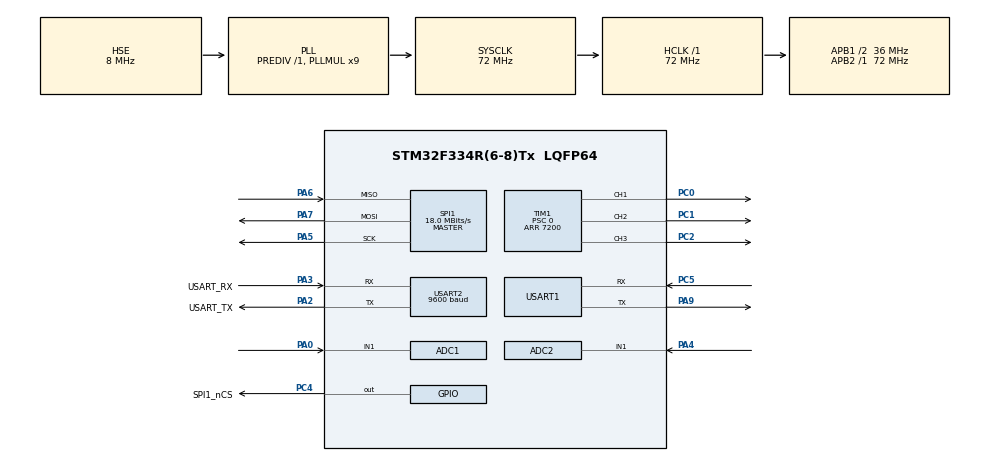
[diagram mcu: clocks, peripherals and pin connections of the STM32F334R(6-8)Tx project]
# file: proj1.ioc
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ADC1.Channel-1\#ChannelRegularConversion=ADC_CHANNEL_1
ADC1.ExternalTrigConv=ADC_EXTERNALTRIGCONV_T1_CC1
ADC1.ExternalTrigConvEdge=ADC_EXTERNALTRIGCONVEDGE_FALLING
ADC1.NbrOfConversion=1
ADC1.NbrOfConversionFlag=1
ADC1.Offset-1\#ChannelRegularConversion=0
ADC1.OffsetNumber-1\#ChannelRegularConversion=ADC_OFFSET_NONE
ADC1.Rank-1\#ChannelRegularConversion=1
ADC1.SamplingTime-1\#ChannelRegularConversion=ADC_SAMPLETIME_1CYCLE_5
ADC1.SubFamily=STM32F334x8
ADC1.master=1
ADC2.Channel-1\#ChannelRegularConversion=ADC_CHANNEL_1
ADC2.ExternalTrigConv=ADC_EXTERNALTRIGCONV_T1_CC2
ADC2.ExternalTrigConvEdge=ADC_EXTERNALTRIGCONVEDGE_FALLING
ADC2.NbrOfConversion=1
ADC2.NbrOfConversionFlag=1
ADC2.Offset-1\#ChannelRegularConversion=0
ADC2.OffsetNumber-1\#ChannelRegularConversion=ADC_OFFSET_NONE
ADC2.Rank-1\#ChannelRegularConversion=1
ADC2.SamplingTime-1\#ChannelRegularConversion=ADC_SAMPLETIME_1CYCLE_5
ADC2.SubFamily=STM32F334x8
Dma.ADC1.0.Direction=DMA_PERIPH_TO_MEMORY
Dma.ADC1.0.Instance=DMA1_Channel1
Dma.ADC1.0.MemDataAlignment=DMA_MDATAALIGN_HALFWORD
Dma.ADC1.0.MemInc=DMA_MINC_ENABLE
Dma.ADC1.0.Mode=DMA_NORMAL
Dma.ADC1.0.PeriphDataAlignment=DMA_PDATAALIGN_HALFWORD
Dma.ADC1.0.PeriphInc=DMA_PINC_DISABLE
Dma.ADC1.0.Priority=DMA_PRIORITY_LOW
Dma.ADC2.1.Direction=DMA_PERIPH_TO_MEMORY
Dma.ADC2.1.Instance=DMA1_Channel2
Dma.ADC2.1.MemDataAlignment=DMA_MDATAALIGN_HALFWORD
Dma.ADC2.1.MemInc=DMA_MINC_ENABLE
Dma.ADC2.1.Mode=DMA_NORMAL
Dma.ADC2.1.PeriphDataAlignment=DMA_PDATAALIGN_HALFWORD
Dma.ADC2.1.PeriphInc=DMA_PINC_DISABLE
Dma.ADC2.1.Priority=DMA_PRIORITY_LOW
Dma.Request0=ADC1
Dma.Request1=ADC2
Dma.Request2=USART2_TX
Dma.Request3=USART2_RX
Dma.USART2_RX.3.Direction=DMA_PERIPH_TO_MEMORY
Dma.USART2_RX.3.Instance=DMA1_Channel6
Dma.USART2_RX.3.MemDataAlignment=DMA_MDATAALIGN_HALFWORD
Dma.USART2_RX.3.MemInc=DMA_MINC_ENABLE
Dma.USART2_RX.3.Mode=DMA_NORMAL
Dma.USART2_RX.3.PeriphDataAlignment=DMA_PDATAALIGN_BYTE
Dma.USART2_RX.3.PeriphInc=DMA_PINC_DISABLE
Dma.USART2_RX.3.Priority=DMA_PRIORITY_LOW
Dma.USART2_TX.2.Direction=DMA_MEMORY_TO_PERIPH
Dma.USART2_TX.2.Instance=DMA1_Channel7
Dma.USART2_TX.2.MemDataAlignment=DMA_MDATAALIGN_HALFWORD
Dma.USART2_TX.2.MemInc=DMA_MINC_ENABLE
Dma.USART2_TX.2.Mode=DMA_CIRCULAR
Dma.USART2_TX.2.PeriphDataAlignment=DMA_PDATAALIGN_BYTE
Dma.USART2_TX.2.PeriphInc=DMA_PINC_DISABLE
Dma.USART2_TX.2.Priority=DMA_PRIORITY_LOW
Mcu.Family=STM32F3
Mcu.Name=STM32F334R(6-8)Tx
Mcu.Package=LQFP64
NVIC.DMA1_Channel1_IRQn=true\:0\:0\:false\:false\:true\:false\:true\:true
NVIC.DMA1_Channel2_IRQn=true\:0\:0\:false\:false\:true\:false\:true\:true
NVIC.DMA1_Channel6_IRQn=true\:0\:0\:false\:false\:true\:false\:true\:true
NVIC.DMA1_Channel7_IRQn=true\:0\:0\:false\:false\:true\:false\:true\:true
NVIC.PriorityGroup=NVIC_PRIORITYGROUP_4
NVIC.TIM1_UP_TIM16_IRQn=true\:0\:0\:false\:false\:true\:true\:true\:true
PA0.Mode=IN1-Single-Ended
PA0.Signal=ADC1_IN1
PA13.GPIO_Label=TMS
PA13.Mode=Serial_Wire
PA13.Signal=SYS_JTMS-SWDIO
PA14.GPIO_Label=TCK
PA14.Mode=Serial_Wire
PA14.Signal=SYS_JTCK-SWCLK
PA2.GPIO_Label=USART_TX
PA2.Mode=Asynchronous
PA2.Signal=USART2_TX
PA3.GPIO_Label=USART_RX
PA3.Mode=Asynchronous
PA3.Signal=USART2_RX
PA4.Mode=IN1-Single-Ended
PA4.Signal=ADC2_IN1
PA5.Mode=Full_Duplex_Master
PA5.Signal=SPI1_SCK
PA6.Mode=Full_Duplex_Master
PA6.Signal=SPI1_MISO
PA7.Mode=Full_Duplex_Master
PA7.Signal=SPI1_MOSI
PA9.Mode=Asynchronous
PA9.Signal=USART1_TX
PB3.GPIO_Label=SWO
PB3.Signal=SYS_JTDO-TRACESWO
PC0.Signal=S_TIM1_CH1
PC1.Signal=S_TIM1_CH2
PC14\ /\ OSC32_IN.Mode=LSE-External-Oscillator
PC14\ /\ OSC32_IN.Signal=RCC_OSC32_IN
PC15\ /\ OSC32_OUT.GPIO_Label=RCC_OSC32_OUT
PC15\ /\ OSC32_OUT.Mode=LSE-External-Oscillator
PC15\ /\ OSC32_OUT.Signal=RCC_OSC32_OUT
PC2.Signal=S_TIM1_CH3
PC4.GPIO_Label=SPI1_nCS
PC4.Signal=GPIO_Output
PC5.Mode=Asynchronous
PC5.Signal=USART1_RX
PF0\ /\ OSC_IN.Mode=HSE-External-Clock-Source
PF0\ /\ OSC_IN.Signal=RCC_OSC_IN
PF1\ /\ OSC_OUT.Signal=RCC_OSC_OUT
ProjectManager.HeapSize=0x200
ProjectManager.StackSize=0x400
ProjectManager.TargetToolchain=STM32CubeIDE
RCC.AHBFreq_Value=72000000
RCC.APB1CLKDivider=RCC_HCLK_DIV2
RCC.APB1Freq_Value=36000000
RCC.APB1TimFreq_Value=72000000
RCC.APB2Freq_Value=72000000
RCC.APB2TimFreq_Value=72000000
RCC.CortexFreq_Value=72000000
RCC.FLatency-AdvancedSettings=FLASH_LATENCY_2
RCC.HCLKFreq_Value=72000000
RCC.HSE_VALUE=8000000
RCC.HSI_VALUE=8000000
RCC.PLLMUL=RCC_PLL_MUL9
RCC.PLLSourceVirtual=RCC_PLLSOURCE_HSE
RCC.SYSCLKFreq_VALUE=72000000
RCC.SYSCLKSourceVirtual=RCC_SYSCLKSOURCE_PLLCLK
RCC.TIM1Selection=RCC_TIM1CLK_PLLCLK
SH.S_TIM1_CH1.0=TIM1_CH1,PWM Generation1 CH1
SH.S_TIM1_CH2.0=TIM1_CH2,PWM Generation2 CH2
SH.S_TIM1_CH3.0=TIM1_CH3,PWM Generation3 CH3
SPI1.BaudRatePrescaler=SPI_BAUDRATEPRESCALER_4
SPI1.CLKPhase=SPI_PHASE_1EDGE
SPI1.CLKPolarity=SPI_POLARITY_LOW
SPI1.CalculateBaudRate=18.0 MBits/s
SPI1.DataSize=SPI_DATASIZE_8BIT
SPI1.Direction=SPI_DIRECTION_2LINES
SPI1.Mode=SPI_MODE_MASTER
SPI1.VirtualType=VM_MASTER
TIM1.Channel-PWM\ Generation1\ CH1=TIM_CHANNEL_1
TIM1.Channel-PWM\ Generation2\ CH2=TIM_CHANNEL_2
TIM1.Channel-PWM\ Generation3\ CH3=TIM_CHANNEL_3
TIM1.CounterMode=TIM_COUNTERMODE_CENTERALIGNED1
TIM1.Period=7200
TIM1.Prescaler=0
USART1.VirtualMode-Asynchronous=VM_ASYNC
USART2.BaudRate=9600
USART2.MSBFirstParam=ADVFEATURE_MSBFIRST_ENABLE
USART2.VirtualMode-Asynchronous=VM_ASYNC
USART2.WordLength=WORDLENGTH_8B
board=NUCLEO-F334R8

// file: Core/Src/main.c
/* USER CODE BEGIN Header */
/**
  ******************************************************************************
  * @file           : main.c
  * @brief          : Main program body
  ******************************************************************************
  * @attention
  *
  * Copyright (c) 2023 STMicroelectronics.
  * All rights reserved.
  *
  * This software is licensed under terms that can be found in the LICENSE file
  * in the root directory of this software component.
  * If no LICENSE file comes with this software, it is provided AS-IS.
  *
  ******************************************************************************
  */
/* USER CODE END Header */
#include "main.h"

/* USER CODE BEGIN Includes */
#include <stdio.h>
#include <math.h>
/* USER CODE END Includes */

/* USER CODE BEGIN PTD */
typedef struct ADC {
	uint32_t a;
	uint32_t b;
	uint32_t c;
}ADC;

typedef struct Phase {
	float a;
	float b;
	float c;
}Phase;

typedef struct Stationary{
	float ds;
	float qs;
}Stationary;

typedef struct Rotating{
	float dr;
	float qr;
}Rotating;

typedef struct Angle{
	float deg;
	float rad;
}Angle;

union Data{
	uint32_t asFloat;
	uint8_t asByte[4];
}Data;

/* USER CODE END PTD */

/* USER CODE BEGIN PD */
#define CURRENT_SENSE_GAIN 4.0
#define R_SENSE 0.005
/* USER CODE END PD */

ADC_HandleTypeDef hadc1;
ADC_HandleTypeDef hadc2;
DMA_HandleTypeDef hdma_adc1;
DMA_HandleTypeDef hdma_adc2;

SPI_HandleTypeDef hspi1;

TIM_HandleTypeDef htim1;

UART_HandleTypeDef huart1;
UART_HandleTypeDef huart2;
DMA_HandleTypeDef hdma_usart2_tx;
DMA_HandleTypeDef hdma_usart2_rx;

/* USER CODE BEGIN PV */
float V_DC = 24.0;
float pole_pair = 21;
float gear_ratio = 1;
uint16_t PWM_RES = 7200;

uint16_t ANGLEUNC = 0x3ffe;

float Va,Vb,Vc;
volatile uint16_t i_ph1 = 0;
volatile uint16_t i_ph2 = 0;
volatile uint16_t i_ph3 = 0;
float m_angle;
/* USER CODE END PV */

void SystemClock_Config(void);
static void MX_GPIO_Init(void);
static void MX_DMA_Init(void);
static void MX_USART2_UART_Init(void);
static void MX_ADC1_Init(void);
static void MX_ADC2_Init(void);
static void MX_SPI1_Init(void);
static void MX_TIM1_Init(void);
static void MX_USART1_UART_Init(void);

/* USER CODE BEGIN 0 */
void HAL_TIM_PeriodElapsedCallback(TIM_HandleTypeDef *htim){
//	HAL_ADC_Start_DMA(&hadc1, (uint32_t *)&i_ph1, 1);
//	HAL_ADC_Start_DMA(&hadc2, (uint32_t *)&i_ph2, 1);
//	HAL_ADC_Start_DMA(&hadc3, (uint32_t *)&i_ph3, 1);
	TIM1->CCR1 = Va*2598;
	TIM1->CCR2 = Vb*2598;
	TIM1->CCR3 = Vc*2598;
}

void HAL_ADC_ConvCpltCallback(ADC_HandleTypeDef* hadc){
	HAL_UART_Transmit_DMA(&huart2, (uint8_t*)&i_ph1, 2);
}

void sense2phase(ADC *adc_in,Phase *i_ph){
  i_ph->a = -(adc_in->a/4095.0*3.3-1.65)/(CURRENT_SENSE_GAIN*R_SENSE);
  i_ph->b = -(adc_in->b/4095.0*3.3-1.65)/(CURRENT_SENSE_GAIN*R_SENSE);
  i_ph->c = -(adc_in->c/4095.0*3.3-1.65)/(CURRENT_SENSE_GAIN*R_SENSE);
}

void phase2dqs(Phase *i_ph,Stationary *i_dqs){
	i_dqs->ds = (2*i_ph->a - i_ph->b - i_ph->c)/3;
	i_dqs->qs = (i_ph->b - i_ph->c)/sqrt(3);
}

void dqs2dqr(Stationary *i_dqs, Rotating *i_dqr, float theta){
	i_dqr->dr =  i_dqs->ds*cos(theta) + i_dqs->qs*sin(theta);
	i_dqr->qr = -i_dqs->ds*sin(theta) + i_dqs->qs*cos(theta);
}

void dqr2dqs(Rotating *i_dqr, Stationary *i_dqs,float theta){
	i_dqs->ds = i_dqr->dr*cos(theta) - i_dqr->qr*sin(theta);
	i_dqs->qs = i_dqr->dr*sin(theta) + i_dqr->qr*cos(theta);
}

void read_angle(float *angle){
	uint16_t command;
	uint8_t raw[2];
	uint16_t data;
	command = ANGLEUNC | 1<<14;
	HAL_GPIO_WritePin(GPIOC, GPIO_PIN_4, GPIO_PIN_RESET);
	HAL_SPI_Transmit(&hspi1, (uint8_t*)command, 2, 10);
	HAL_GPIO_WritePin(GPIOC, GPIO_PIN_4, GPIO_PIN_SET);
	HAL_GPIO_WritePin(GPIOC, GPIO_PIN_4, GPIO_PIN_RESET);
	HAL_SPI_Receive(&hspi1, raw, 2, 10);
	HAL_GPIO_WritePin(GPIOC, GPIO_PIN_4, GPIO_PIN_SET);
	data = raw[0]<<8|raw[1];
	data &= 0x3fff;
	*angle = data/8191.0*2*M_PI;
}

//void read_speed(){
//
//}

void m2e_angle(float *theta_m,float *theta_e){
	// don't use in speed loop
	*theta_e = *theta_m*pole_pair*gear_ratio;
}

void limiter(float *value, float *min, float *max){
	if(value >= max) value = max;
	else if(value <= min) value = min;
}

void SpaceVector(Stationary *v,float theta_e){
	static uint8_t sector=0;
	float v_ref;
	// calculate the magnitude of vds and vqs
	v_ref = sqrt(v->ds*v->ds + v->qs*v->qs);
	// calculate the angle of vds and vqs
	theta_e = atan2(v->qs,v->ds) + theta_e;
	// for testing
	//read_angle(&theta_e);
	//m2e_angle(&theta_e);

//	if (theta_e.deg>=0 && theta_e.deg<=60) sector = 1;
//	else if (theta_e.deg>=60 && theta_e.deg<=120) sector = 2;
//	else if (theta_e.deg>=120 && theta_e.deg<=180) sector = 3;
//	else if (theta_e.deg>=180 && theta_e.deg<=240) sector = 4;
//	else if (theta_e.deg>=240 && theta_e.deg<=300) sector = 5;
//	else if (theta_e.deg>=300 && theta_e.deg<=360) sector = 6;
//	else sector=0;

	sector = floor(theta_e*3.0/M_PI)+1;

	float n = sector*1.0;
	float ts = v_ref/V_DC*sqrt(3);
	float t1 = ts*sin(n*M_PI/3.0-theta_e);
	float t2 = ts*sin((theta_e-n-1.0)/3.0*M_PI);

	float t0 = ts-(t1+t2);
	float t120 = t1+t2+(t0/2);
	float t10 = t1+(t0/2);
	float t20 = t2+(t0/2);

	float Ta,Tb,Tc;

	switch(sector){
	case 1 :Ta=t120;
			Tb=t20;
			Tc=t0/2;
	break;
 	case 2 :Ta=t10;
 			Tb=t120;
 			Tc=t0/2;
 	break;
 	case 3 :Ta=t0/2;
 			Tb=t120;
 			Tc=t20;
 	break;
 	case 4 :Ta=t0/2;
 			Tb=t10;
 			Tc=t120;
 	break;
 	case 5 :Ta=t20;
 			Tb=t0/2;
 			Tc=t120;
 	break;
 	case 6 :Ta=t120;
 			Tb=t0/2;
 			Tc=t10;
 	break;
	}

	Va = (Ta*V_DC)/1.0*PWM_RES;
	Vb = (Tb*V_DC)/1.0*PWM_RES;
	Vc = (Tc*V_DC)/1.0*PWM_RES;
}

//void serial_write(Phase *data){
//	uint8_t buffer[14] = {data};
//	for(int i=0;i<3;i++){
//		HAL_UART_Transmit_DMA(&huart2, &data, 4);
//		HAL_UART_Transmit(&huart2, "\t", 1, 0);
//	}
//
//}

//void serial_read(){
//
//}

/* USER CODE END 0 */

int main(void)
{
  /* USER CODE BEGIN 1 */
/* list of signal*/
  uint16_t adc_a,adc_b,adc_c;
  Phase vsense = {adc_a,adc_b,adc_c};
  Phase phase_current = {0,0,0};
  Phase phase_voltage = {0,0,0};
  Stationary dqs_current = {0,0};
  Rotating dqr_current = {0,0};
  Rotating dqr_voltage = {0,0};
  Stationary dqs_voltage = {0,0};
  float e_angle = 0;

  /* USER CODE END 1 */

  /* MCU Configuration--------------------------------------------------------*/

  /* Reset of all peripherals, Initializes the Flash interface and the Systick. */
  HAL_Init();

  /* Configure the system clock */
  SystemClock_Config();

  /* Initialize all configured peripherals */
  MX_GPIO_Init();
  MX_DMA_Init();
  MX_USART2_UART_Init();
  MX_ADC1_Init();
  MX_ADC2_Init();
  MX_SPI1_Init();
  MX_TIM1_Init();
  MX_USART1_UART_Init();
  /* USER CODE BEGIN 2 */

  HAL_TIM_Base_Start_IT( &htim1 );
  HAL_ADC_Start_DMA(&hadc1, (uint32_t *)&i_ph1, 1);
  HAL_ADC_Start_DMA(&hadc2, (uint32_t *)&i_ph2, 1);
//  HAL_ADC_Start_DMA(&hadc3, (uint32_t *)&i_ph3, 1);
  HAL_TIM_PWM_Start( &htim1, TIM_CHANNEL_1 );
  HAL_TIM_PWM_Start( &htim1, TIM_CHANNEL_2 );
  HAL_TIM_PWM_Start( &htim1, TIM_CHANNEL_3 );

  //set nCS to high
  HAL_GPIO_WritePin(GPIOC, GPIO_PIN_4, GPIO_PIN_SET);

  /* USER CODE END 2 */

  /* Infinite loop */
  while (1)
  {

    /* USER CODE BEGIN 3 */
	  /*This is current loop*/
	read_angle(&m_angle);
//	m2e_angle(&m_angle,&e_angle);
//	SpaceVector(&dqs_voltage,e_angle);
//	serial_write(m_angle.deg);
  }
  /* USER CODE END 3 */
}

void SystemClock_Config(void)
{
  RCC_OscInitTypeDef RCC_OscInitStruct = {0};
  RCC_ClkInitTypeDef RCC_ClkInitStruct = {0};
  RCC_PeriphCLKInitTypeDef PeriphClkInit = {0};

  /** Initializes the RCC Oscillators according to the specified parameters
  * in the RCC_OscInitTypeDef structure.
  */
  RCC_OscInitStruct.OscillatorType = RCC_OSCILLATORTYPE_HSE;
  RCC_OscInitStruct.HSEState = RCC_HSE_BYPASS;
  RCC_OscInitStruct.HSEPredivValue = RCC_HSE_PREDIV_DIV1;
  RCC_OscInitStruct.HSIState = RCC_HSI_ON;
  RCC_OscInitStruct.PLL.PLLState = RCC_PLL_ON;
  RCC_OscInitStruct.PLL.PLLSource = RCC_PLLSOURCE_HSE;
  RCC_OscInitStruct.PLL.PLLMUL = RCC_PLL_MUL9;
  if (HAL_RCC_OscConfig(&RCC_OscInitStruct) != HAL_OK)
  {
    Error_Handler();
  }

  /** Initializes the CPU, AHB and APB buses clocks
  */
  RCC_ClkInitStruct.ClockType = RCC_CLOCKTYPE_HCLK|RCC_CLOCKTYPE_SYSCLK
                              |RCC_CLOCKTYPE_PCLK1|RCC_CLOCKTYPE_PCLK2;
  RCC_ClkInitStruct.SYSCLKSource = RCC_SYSCLKSOURCE_PLLCLK;
  RCC_ClkInitStruct.AHBCLKDivider = RCC_SYSCLK_DIV1;
  RCC_ClkInitStruct.APB1CLKDivider = RCC_HCLK_DIV2;
  RCC_ClkInitStruct.APB2CLKDivider = RCC_HCLK_DIV1;

  if (HAL_RCC_ClockConfig(&RCC_ClkInitStruct, FLASH_LATENCY_2) != HAL_OK)
  {
    Error_Handler();
  }
  PeriphClkInit.PeriphClockSelection = RCC_PERIPHCLK_USART1|RCC_PERIPHCLK_TIM1
                              |RCC_PERIPHCLK_ADC12;
  PeriphClkInit.Usart1ClockSelection = RCC_USART1CLKSOURCE_PCLK1;
  PeriphClkInit.Adc12ClockSelection = RCC_ADC12PLLCLK_DIV1;
  PeriphClkInit.Tim1ClockSelection = RCC_TIM1CLK_PLLCLK;
  if (HAL_RCCEx_PeriphCLKConfig(&PeriphClkInit) != HAL_OK)
  {
    Error_Handler();
  }
}

static void MX_ADC1_Init(void)
{

  ADC_MultiModeTypeDef multimode = {0};
  ADC_ChannelConfTypeDef sConfig = {0};

  /** Common config
  */
  hadc1.Instance = ADC1;
  hadc1.Init.ClockPrescaler = ADC_CLOCK_ASYNC_DIV1;
  hadc1.Init.Resolution = ADC_RESOLUTION_12B;
  hadc1.Init.ScanConvMode = ADC_SCAN_DISABLE;
  hadc1.Init.ContinuousConvMode = DISABLE;
  hadc1.Init.DiscontinuousConvMode = DISABLE;
  hadc1.Init.ExternalTrigConvEdge = ADC_EXTERNALTRIGCONVEDGE_FALLING;
  hadc1.Init.ExternalTrigConv = ADC_EXTERNALTRIGCONV_T1_CC1;
  hadc1.Init.DataAlign = ADC_DATAALIGN_RIGHT;
  hadc1.Init.NbrOfConversion = 1;
  hadc1.Init.DMAContinuousRequests = DISABLE;
  hadc1.Init.EOCSelection = ADC_EOC_SINGLE_CONV;
  hadc1.Init.LowPowerAutoWait = DISABLE;
  hadc1.Init.Overrun = ADC_OVR_DATA_OVERWRITTEN;
  if (HAL_ADC_Init(&hadc1) != HAL_OK)
  {
    Error_Handler();
  }

  /** Configure the ADC multi-mode
  */
  multimode.Mode = ADC_MODE_INDEPENDENT;
  if (HAL_ADCEx_MultiModeConfigChannel(&hadc1, &multimode) != HAL_OK)
  {
    Error_Handler();
  }

  /** Configure Regular Channel
  */
  sConfig.Channel = ADC_CHANNEL_1;
  sConfig.Rank = ADC_REGULAR_RANK_1;
  sConfig.SingleDiff = ADC_SINGLE_ENDED;
  sConfig.SamplingTime = ADC_SAMPLETIME_1CYCLE_5;
  sConfig.OffsetNumber = ADC_OFFSET_NONE;
  sConfig.Offset = 0;
  if (HAL_ADC_ConfigChannel(&hadc1, &sConfig) != HAL_OK)
  {
    Error_Handler();
  }

}

static void MX_ADC2_Init(void)
{

  ADC_ChannelConfTypeDef sConfig = {0};

  /** Common config
  */
  hadc2.Instance = ADC2;
  hadc2.Init.ClockPrescaler = ADC_CLOCK_ASYNC_DIV1;
  hadc2.Init.Resolution = ADC_RESOLUTION_12B;
  hadc2.Init.ScanConvMode = ADC_SCAN_DISABLE;
  hadc2.Init.ContinuousConvMode = DISABLE;
  hadc2.Init.DiscontinuousConvMode = DISABLE;
  hadc2.Init.ExternalTrigConvEdge = ADC_EXTERNALTRIGCONVEDGE_FALLING;
  hadc2.Init.ExternalTrigConv = ADC_EXTERNALTRIGCONV_T1_CC2;
  hadc2.Init.DataAlign = ADC_DATAALIGN_RIGHT;
  hadc2.Init.NbrOfConversion = 1;
  hadc2.Init.DMAContinuousRequests = DISABLE;
  hadc2.Init.EOCSelection = ADC_EOC_SINGLE_CONV;
  hadc2.Init.LowPowerAutoWait = DISABLE;
  hadc2.Init.Overrun = ADC_OVR_DATA_OVERWRITTEN;
  if (HAL_ADC_Init(&hadc2) != HAL_OK)
  {
    Error_Handler();
  }

  /** Configure Regular Channel
  */
  sConfig.Channel = ADC_CHANNEL_1;
  sConfig.Rank = ADC_REGULAR_RANK_1;
  sConfig.SingleDiff = ADC_SINGLE_ENDED;
  sConfig.SamplingTime = ADC_SAMPLETIME_1CYCLE_5;
  sConfig.OffsetNumber = ADC_OFFSET_NONE;
  sConfig.Offset = 0;
  if (HAL_ADC_ConfigChannel(&hadc2, &sConfig) != HAL_OK)
  {
    Error_Handler();
  }

}

static void MX_SPI1_Init(void)
{

  /* SPI1 parameter configuration*/
  hspi1.Instance = SPI1;
  hspi1.Init.Mode = SPI_MODE_MASTER;
  hspi1.Init.Direction = SPI_DIRECTION_2LINES;
  hspi1.Init.DataSize = SPI_DATASIZE_8BIT;
  hspi1.Init.CLKPolarity = SPI_POLARITY_LOW;
  hspi1.Init.CLKPhase = SPI_PHASE_1EDGE;
  hspi1.Init.NSS = SPI_NSS_SOFT;
  hspi1.Init.BaudRatePrescaler = SPI_BAUDRATEPRESCALER_4;
  hspi1.Init.FirstBit = SPI_FIRSTBIT_MSB;
  hspi1.Init.TIMode = SPI_TIMODE_DISABLE;
  hspi1.Init.CRCCalculation = SPI_CRCCALCULATION_DISABLE;
  hspi1.Init.CRCPolynomial = 7;
  hspi1.Init.CRCLength = SPI_CRC_LENGTH_DATASIZE;
  hspi1.Init.NSSPMode = SPI_NSS_PULSE_ENABLE;
  if (HAL_SPI_Init(&hspi1) != HAL_OK)
  {
    Error_Handler();
  }

}

static void MX_TIM1_Init(void)
{

  TIM_MasterConfigTypeDef sMasterConfig = {0};
  TIM_OC_InitTypeDef sConfigOC = {0};
  TIM_BreakDeadTimeConfigTypeDef sBreakDeadTimeConfig = {0};

  htim1.Instance = TIM1;
  htim1.Init.Prescaler = 0;
  htim1.Init.CounterMode = TIM_COUNTERMODE_CENTERALIGNED1;
  htim1.Init.Period = 7200;
  htim1.Init.ClockDivision = TIM_CLOCKDIVISION_DIV1;
  htim1.Init.RepetitionCounter = 0;
  htim1.Init.AutoReloadPreload = TIM_AUTORELOAD_PRELOAD_DISABLE;
  if (HAL_TIM_PWM_Init(&htim1) != HAL_OK)
  {
    Error_Handler();
  }
  sMasterConfig.MasterOutputTrigger = TIM_TRGO_RESET;
  sMasterConfig.MasterOutputTrigger2 = TIM_TRGO2_RESET;
  sMasterConfig.MasterSlaveMode = TIM_MASTERSLAVEMODE_DISABLE;
  if (HAL_TIMEx_MasterConfigSynchronization(&htim1, &sMasterConfig) != HAL_OK)
  {
    Error_Handler();
  }
  sConfigOC.OCMode = TIM_OCMODE_PWM1;
  sConfigOC.Pulse = 0;
  sConfigOC.OCPolarity = TIM_OCPOLARITY_HIGH;
  sConfigOC.OCNPolarity = TIM_OCNPOLARITY_HIGH;
  sConfigOC.OCFastMode = TIM_OCFAST_DISABLE;
  sConfigOC.OCIdleState = TIM_OCIDLESTATE_RESET;
  sConfigOC.OCNIdleState = TIM_OCNIDLESTATE_RESET;
  if (HAL_TIM_PWM_ConfigChannel(&htim1, &sConfigOC, TIM_CHANNEL_1) != HAL_OK)
  {
    Error_Handler();
  }
  if (HAL_TIM_PWM_ConfigChannel(&htim1, &sConfigOC, TIM_CHANNEL_2) != HAL_OK)
  {
    Error_Handler();
  }
  if (HAL_TIM_PWM_ConfigChannel(&htim1, &sConfigOC, TIM_CHANNEL_3) != HAL_OK)
  {
    Error_Handler();
  }
  sBreakDeadTimeConfig.OffStateRunMode = TIM_OSSR_DISABLE;
  sBreakDeadTimeConfig.OffStateIDLEMode = TIM_OSSI_DISABLE;
  sBreakDeadTimeConfig.LockLevel = TIM_LOCKLEVEL_OFF;
  sBreakDeadTimeConfig.DeadTime = 0;
  sBreakDeadTimeConfig.BreakState = TIM_BREAK_DISABLE;
  sBreakDeadTimeConfig.BreakPolarity = TIM_BREAKPOLARITY_HIGH;
  sBreakDeadTimeConfig.BreakFilter = 0;
  sBreakDeadTimeConfig.Break2State = TIM_BREAK2_DISABLE;
  sBreakDeadTimeConfig.Break2Polarity = TIM_BREAK2POLARITY_HIGH;
  sBreakDeadTimeConfig.Break2Filter = 0;
  sBreakDeadTimeConfig.AutomaticOutput = TIM_AUTOMATICOUTPUT_DISABLE;
  if (HAL_TIMEx_ConfigBreakDeadTime(&htim1, &sBreakDeadTimeConfig) != HAL_OK)
  {
    Error_Handler();
  }
  HAL_TIM_MspPostInit(&htim1);

}

static void MX_USART1_UART_Init(void)
{

  huart1.Instance = USART1;
  huart1.Init.BaudRate = 38400;
  huart1.Init.WordLength = UART_WORDLENGTH_8B;
  huart1.Init.StopBits = UART_STOPBITS_1;
  huart1.Init.Parity = UART_PARITY_NONE;
  huart1.Init.Mode = UART_MODE_TX_RX;
  huart1.Init.HwFlowCtl = UART_HWCONTROL_NONE;
  huart1.Init.OverSampling = UART_OVERSAMPLING_16;
  huart1.Init.OneBitSampling = UART_ONE_BIT_SAMPLE_DISABLE;
  huart1.AdvancedInit.AdvFeatureInit = UART_ADVFEATURE_NO_INIT;
  if (HAL_UART_Init(&huart1) != HAL_OK)
  {
    Error_Handler();
  }

}

static void MX_USART2_UART_Init(void)
{

  huart2.Instance = USART2;
  huart2.Init.BaudRate = 9600;
  huart2.Init.WordLength = UART_WORDLENGTH_8B;
  huart2.Init.StopBits = UART_STOPBITS_1;
  huart2.Init.Parity = UART_PARITY_NONE;
  huart2.Init.Mode = UART_MODE_TX_RX;
  huart2.Init.HwFlowCtl = UART_HWCONTROL_NONE;
  huart2.Init.OverSampling = UART_OVERSAMPLING_16;
  huart2.Init.OneBitSampling = UART_ONE_BIT_SAMPLE_DISABLE;
  huart2.AdvancedInit.AdvFeatureInit = UART_ADVFEATURE_MSBFIRST_INIT;
  huart2.AdvancedInit.MSBFirst = UART_ADVFEATURE_MSBFIRST_ENABLE;
  if (HAL_UART_Init(&huart2) != HAL_OK)
  {
    Error_Handler();
  }

}

static void MX_DMA_Init(void)
{

  /* DMA controller clock enable */
  __HAL_RCC_DMA1_CLK_ENABLE();

  /* DMA interrupt init */
  /* DMA1_Channel1_IRQn interrupt configuration */
  HAL_NVIC_SetPriority(DMA1_Channel1_IRQn, 0, 0);
  HAL_NVIC_EnableIRQ(DMA1_Channel1_IRQn);
  /* DMA1_Channel2_IRQn interrupt configuration */
  HAL_NVIC_SetPriority(DMA1_Channel2_IRQn, 0, 0);
  HAL_NVIC_EnableIRQ(DMA1_Channel2_IRQn);
  /* DMA1_Channel6_IRQn interrupt configuration */
  HAL_NVIC_SetPriority(DMA1_Channel6_IRQn, 0, 0);
  HAL_NVIC_EnableIRQ(DMA1_Channel6_IRQn);
  /* DMA1_Channel7_IRQn interrupt configuration */
  HAL_NVIC_SetPriority(DMA1_Channel7_IRQn, 0, 0);
  HAL_NVIC_EnableIRQ(DMA1_Channel7_IRQn);

}

static void MX_GPIO_Init(void)
{
  GPIO_InitTypeDef GPIO_InitStruct = {0};

  /* GPIO Ports Clock Enable */
  __HAL_RCC_GPIOC_CLK_ENABLE();
  __HAL_RCC_GPIOF_CLK_ENABLE();
  __HAL_RCC_GPIOA_CLK_ENABLE();
  __HAL_RCC_GPIOB_CLK_ENABLE();

  /*Configure GPIO pin Output Level */
  HAL_GPIO_WritePin(SPI1_nCS_GPIO_Port, SPI1_nCS_Pin, GPIO_PIN_RESET);

  /*Configure GPIO pin : SPI1_nCS_Pin */
  GPIO_InitStruct.Pin = SPI1_nCS_Pin;
  GPIO_InitStruct.Mode = GPIO_MODE_OUTPUT_PP;
  GPIO_InitStruct.Pull = GPIO_NOPULL;
  GPIO_InitStruct.Speed = GPIO_SPEED_FREQ_LOW;
  HAL_GPIO_Init(SPI1_nCS_GPIO_Port, &GPIO_InitStruct);

}

void Error_Handler(void)
{
  __disable_irq();
  while (1)
  {
  }
}
